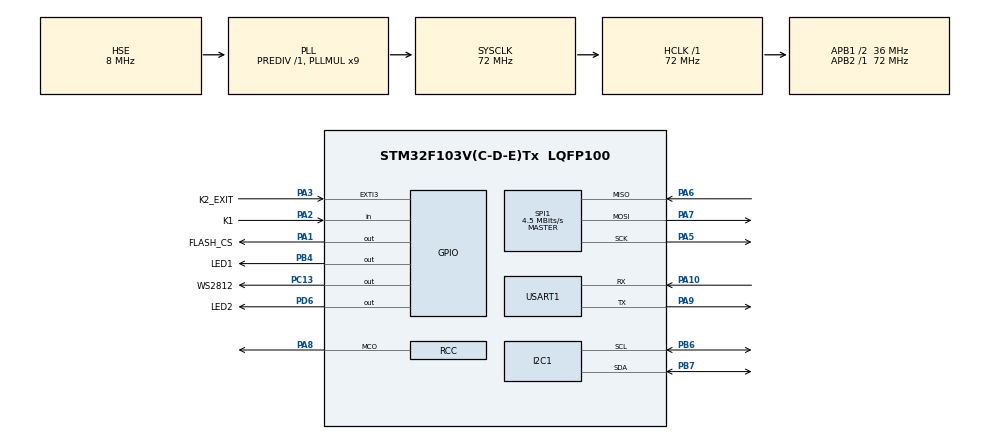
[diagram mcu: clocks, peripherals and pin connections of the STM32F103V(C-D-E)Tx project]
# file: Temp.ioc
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Mcu.Family=STM32F1
Mcu.Name=STM32F103V(C-D-E)Tx
Mcu.Package=LQFP100
NVIC.EXTI3_IRQn=true\:0\:0\:false\:false\:true\:true\:true\:true
NVIC.PriorityGroup=NVIC_PRIORITYGROUP_4
NVIC.USART1_IRQn=true\:0\:0\:false\:false\:true\:true\:true\:true
OSC_IN.Mode=HSE-External-Oscillator
OSC_IN.Signal=RCC_OSC_IN
OSC_OUT.Mode=HSE-External-Oscillator
OSC_OUT.Signal=RCC_OSC_OUT
PA1.GPIO_Label=FLASH_CS
PA1.GPIO_PuPd=GPIO_PULLUP
PA1.GPIO_Speed=GPIO_SPEED_FREQ_HIGH
PA1.PinState=GPIO_PIN_SET
PA1.Signal=GPIO_Output
PA10.Mode=Asynchronous
PA10.Signal=USART1_RX
PA13.Mode=Serial_Wire
PA13.Signal=SYS_JTMS-SWDIO
PA14.Mode=Serial_Wire
PA14.Signal=SYS_JTCK-SWCLK
PA2.GPIO_Label=K1
PA2.Signal=GPIO_Input
PA3.GPIO_Label=K2_EXIT
PA3.GPIO_ModeDefaultEXTI=GPIO_MODE_IT_FALLING
PA3.Signal=GPXTI3
PA5.Mode=Full_Duplex_Master
PA5.Signal=SPI1_SCK
PA6.Mode=Full_Duplex_Master
PA6.Signal=SPI1_MISO
PA7.Mode=Full_Duplex_Master
PA7.Signal=SPI1_MOSI
PA8.Mode=Clock-out
PA8.Signal=RCC_MCO
PA9.Mode=Asynchronous
PA9.Signal=USART1_TX
PB4.GPIO_Label=LED1
PB4.GPIO_ModeDefaultOutputPP=GPIO_MODE_OUTPUT_PP
PB4.GPIO_PuPd=GPIO_PULLUP
PB4.GPIO_Speed=GPIO_SPEED_FREQ_HIGH
PB4.PinState=GPIO_PIN_SET
PB4.Signal=GPIO_Output
PB6.Mode=I2C
PB6.Signal=I2C1_SCL
PB7.Mode=I2C
PB7.Signal=I2C1_SDA
PC13-TAMPER-RTC.GPIO_Label=WS2812
PC13-TAMPER-RTC.GPIO_PuPd=GPIO_PULLUP
PC13-TAMPER-RTC.GPIO_Speed=GPIO_SPEED_FREQ_HIGH
PC13-TAMPER-RTC.PinState=GPIO_PIN_SET
PC13-TAMPER-RTC.Signal=GPIO_Output
PC14-OSC32_IN.Mode=LSE-External-Oscillator
PC14-OSC32_IN.Signal=RCC_OSC32_IN
PC15-OSC32_OUT.Mode=LSE-External-Oscillator
PC15-OSC32_OUT.Signal=RCC_OSC32_OUT
PD6.GPIO_Label=LED2
PD6.GPIO_ModeDefaultOutputPP=GPIO_MODE_OUTPUT_PP
PD6.GPIO_PuPd=GPIO_PULLUP
PD6.GPIO_Speed=GPIO_SPEED_FREQ_HIGH
PD6.PinState=GPIO_PIN_SET
PD6.Signal=GPIO_Output
ProjectManager.HeapSize=0x200
ProjectManager.StackSize=0x400
ProjectManager.TargetToolchain=Makefile
RCC.AHBFreq_Value=72000000
RCC.APB1CLKDivider=RCC_HCLK_DIV2
RCC.APB1Freq_Value=36000000
RCC.APB1TimFreq_Value=72000000
RCC.APB2Freq_Value=72000000
RCC.APB2TimFreq_Value=72000000
RCC.HCLKFreq_Value=72000000
RCC.PLLMUL=RCC_PLL_MUL9
RCC.PLLSourceVirtual=RCC_PLLSOURCE_HSE
RCC.RCC_MCOSource=RCC_MCO1SOURCE_PLLCLK
RCC.SYSCLKFreq_VALUE=72000000
RCC.SYSCLKSource=RCC_SYSCLKSOURCE_PLLCLK
RCC.USBFreq_Value=72000000
SPI1.BaudRatePrescaler=SPI_BAUDRATEPRESCALER_16
SPI1.CalculateBaudRate=4.5 MBits/s
SPI1.Direction=SPI_DIRECTION_2LINES
SPI1.Mode=SPI_MODE_MASTER
SPI1.VirtualType=VM_MASTER
USART1.VirtualMode=VM_ASYNC
board=custom

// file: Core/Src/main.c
/* USER CODE BEGIN Header */
/**
  ******************************************************************************
  * @file           : main.c
  * @brief          : Main program body
  ******************************************************************************
  * @attention
  *
  * Copyright (c) 2025 STMicroelectronics.
  * All rights reserved.
  *
  * This software is licensed under terms that can be found in the LICENSE file
  * in the root directory of this software component.
  * If no LICENSE file comes with this software, it is provided AS-IS.
  *
  ******************************************************************************
  */
/* USER CODE END Header */
#include "main.h"

/* USER CODE BEGIN Includes */
#include "stdio.h"//printf函数
#include "string.h"
#include "bsp_spi_flash.h"//SPI flash驱动
/* USER CODE END Includes */

/* USER CODE BEGIN PTD */
uint8_t rx_buff[100];  //接收缓存
uint8_t rx_done = 0; //接收完成标志
uint8_t rx_cnt = 0;//接收数据长度
/* USER CODE END PTD */

I2C_HandleTypeDef hi2c1;

SPI_HandleTypeDef hspi1;

UART_HandleTypeDef huart1;

/* USER CODE BEGIN PV */
SPI_HandleTypeDef *hspi_flash = &hspi1; // 必须定义
/* USER CODE END PV */

void SystemClock_Config(void);
static void MX_GPIO_Init(void);
static void MX_USART1_UART_Init(void);
static void MX_I2C1_Init(void);
static void MX_SPI1_Init(void);
/* USER CODE BEGIN PFP */
void spi_flash_test(void);//SPI flash测试函数
/* USER CODE END PFP */

int main(void)
{

  /* MCU Configuration--------------------------------------------------------*/

  /* Reset of all peripherals, Initializes the Flash interface and the Systick. */
  HAL_Init();

  /* Configure the system clock */
  SystemClock_Config();

  /* Initialize all configured peripherals */
  MX_GPIO_Init();
  MX_USART1_UART_Init();
  MX_I2C1_Init();
  MX_SPI1_Init();
  /* USER CODE BEGIN 2 */
  HAL_Delay(1000);
  spi_flash_test();//SPI flash测试函数
  /* USER CODE END 2 */

  /* Infinite loop */
  while (1)
  {

  }
}

void SystemClock_Config(void)
{
  RCC_OscInitTypeDef RCC_OscInitStruct = {0};
  RCC_ClkInitTypeDef RCC_ClkInitStruct = {0};

  /** Initializes the RCC Oscillators according to the specified parameters
  * in the RCC_OscInitTypeDef structure.
  */
  RCC_OscInitStruct.OscillatorType = RCC_OSCILLATORTYPE_HSE;
  RCC_OscInitStruct.HSEState = RCC_HSE_ON;
  RCC_OscInitStruct.HSEPredivValue = RCC_HSE_PREDIV_DIV1;
  RCC_OscInitStruct.HSIState = RCC_HSI_ON;
  RCC_OscInitStruct.PLL.PLLState = RCC_PLL_ON;
  RCC_OscInitStruct.PLL.PLLSource = RCC_PLLSOURCE_HSE;
  RCC_OscInitStruct.PLL.PLLMUL = RCC_PLL_MUL9;
  if (HAL_RCC_OscConfig(&RCC_OscInitStruct) != HAL_OK)
  {
    Error_Handler();
  }

  /** Initializes the CPU, AHB and APB buses clocks
  */
  RCC_ClkInitStruct.ClockType = RCC_CLOCKTYPE_HCLK|RCC_CLOCKTYPE_SYSCLK
                              |RCC_CLOCKTYPE_PCLK1|RCC_CLOCKTYPE_PCLK2;
  RCC_ClkInitStruct.SYSCLKSource = RCC_SYSCLKSOURCE_PLLCLK;
  RCC_ClkInitStruct.AHBCLKDivider = RCC_SYSCLK_DIV1;
  RCC_ClkInitStruct.APB1CLKDivider = RCC_HCLK_DIV2;
  RCC_ClkInitStruct.APB2CLKDivider = RCC_HCLK_DIV1;

  if (HAL_RCC_ClockConfig(&RCC_ClkInitStruct, FLASH_LATENCY_2) != HAL_OK)
  {
    Error_Handler();
  }
  HAL_RCC_MCOConfig(RCC_MCO, RCC_MCO1SOURCE_PLLCLK, RCC_MCODIV_1);
}

static void MX_I2C1_Init(void)
{

  hi2c1.Instance = I2C1;
  hi2c1.Init.ClockSpeed = 100000;
  hi2c1.Init.DutyCycle = I2C_DUTYCYCLE_2;
  hi2c1.Init.OwnAddress1 = 0;
  hi2c1.Init.AddressingMode = I2C_ADDRESSINGMODE_7BIT;
  hi2c1.Init.DualAddressMode = I2C_DUALADDRESS_DISABLE;
  hi2c1.Init.OwnAddress2 = 0;
  hi2c1.Init.GeneralCallMode = I2C_GENERALCALL_DISABLE;
  hi2c1.Init.NoStretchMode = I2C_NOSTRETCH_DISABLE;
  if (HAL_I2C_Init(&hi2c1) != HAL_OK)
  {
    Error_Handler();
  }

}

static void MX_SPI1_Init(void)
{

  /* SPI1 parameter configuration*/
  hspi1.Instance = SPI1;
  hspi1.Init.Mode = SPI_MODE_MASTER;
  hspi1.Init.Direction = SPI_DIRECTION_2LINES;
  hspi1.Init.DataSize = SPI_DATASIZE_8BIT;
  hspi1.Init.CLKPolarity = SPI_POLARITY_LOW;
  hspi1.Init.CLKPhase = SPI_PHASE_1EDGE;
  hspi1.Init.NSS = SPI_NSS_SOFT;
  hspi1.Init.BaudRatePrescaler = SPI_BAUDRATEPRESCALER_16;
  hspi1.Init.FirstBit = SPI_FIRSTBIT_MSB;
  hspi1.Init.TIMode = SPI_TIMODE_DISABLE;
  hspi1.Init.CRCCalculation = SPI_CRCCALCULATION_DISABLE;
  hspi1.Init.CRCPolynomial = 10;
  if (HAL_SPI_Init(&hspi1) != HAL_OK)
  {
    Error_Handler();
  }

}

static void MX_USART1_UART_Init(void)
{

  huart1.Instance = USART1;
  huart1.Init.BaudRate = 115200;
  huart1.Init.WordLength = UART_WORDLENGTH_8B;
  huart1.Init.StopBits = UART_STOPBITS_1;
  huart1.Init.Parity = UART_PARITY_NONE;
  huart1.Init.Mode = UART_MODE_TX_RX;
  huart1.Init.HwFlowCtl = UART_HWCONTROL_NONE;
  huart1.Init.OverSampling = UART_OVERSAMPLING_16;
  if (HAL_UART_Init(&huart1) != HAL_OK)
  {
    Error_Handler();
  }
  /* USER CODE BEGIN USART1_Init 2 */
  //开启接收中断，空闲中断
  __HAL_UART_ENABLE_IT(&huart1,UART_IT_IDLE|UART_IT_RXNE);
  /* USER CODE END USART1_Init 2 */

}

static void MX_GPIO_Init(void)
{
  GPIO_InitTypeDef GPIO_InitStruct = {0};

  /* GPIO Ports Clock Enable */
  __HAL_RCC_GPIOC_CLK_ENABLE();
  __HAL_RCC_GPIOA_CLK_ENABLE();
  __HAL_RCC_GPIOD_CLK_ENABLE();
  __HAL_RCC_GPIOB_CLK_ENABLE();

  /*Configure GPIO pin Output Level */
  HAL_GPIO_WritePin(WS2812_GPIO_Port, WS2812_Pin, GPIO_PIN_SET);

  /*Configure GPIO pin Output Level */
  HAL_GPIO_WritePin(FLASH_CS_GPIO_Port, FLASH_CS_Pin, GPIO_PIN_SET);

  /*Configure GPIO pin Output Level */
  HAL_GPIO_WritePin(LED2_GPIO_Port, LED2_Pin, GPIO_PIN_SET);

  /*Configure GPIO pin Output Level */
  HAL_GPIO_WritePin(LED1_GPIO_Port, LED1_Pin, GPIO_PIN_SET);

  /*Configure GPIO pin : WS2812_Pin */
  GPIO_InitStruct.Pin = WS2812_Pin;
  GPIO_InitStruct.Mode = GPIO_MODE_OUTPUT_PP;
  GPIO_InitStruct.Pull = GPIO_PULLUP;
  GPIO_InitStruct.Speed = GPIO_SPEED_FREQ_HIGH;
  HAL_GPIO_Init(WS2812_GPIO_Port, &GPIO_InitStruct);

  /*Configure GPIO pin : FLASH_CS_Pin */
  GPIO_InitStruct.Pin = FLASH_CS_Pin;
  GPIO_InitStruct.Mode = GPIO_MODE_OUTPUT_PP;
  GPIO_InitStruct.Pull = GPIO_PULLUP;
  GPIO_InitStruct.Speed = GPIO_SPEED_FREQ_HIGH;
  HAL_GPIO_Init(FLASH_CS_GPIO_Port, &GPIO_InitStruct);

  /*Configure GPIO pin : K1_Pin */
  GPIO_InitStruct.Pin = K1_Pin;
  GPIO_InitStruct.Mode = GPIO_MODE_INPUT;
  GPIO_InitStruct.Pull = GPIO_NOPULL;
  HAL_GPIO_Init(K1_GPIO_Port, &GPIO_InitStruct);

  /*Configure GPIO pin : K2_EXIT_Pin */
  GPIO_InitStruct.Pin = K2_EXIT_Pin;
  GPIO_InitStruct.Mode = GPIO_MODE_IT_FALLING;
  GPIO_InitStruct.Pull = GPIO_NOPULL;
  HAL_GPIO_Init(K2_EXIT_GPIO_Port, &GPIO_InitStruct);

  /*Configure GPIO pin : PA8 */
  GPIO_InitStruct.Pin = GPIO_PIN_8;
  GPIO_InitStruct.Mode = GPIO_MODE_AF_PP;
  GPIO_InitStruct.Speed = GPIO_SPEED_FREQ_LOW;
  HAL_GPIO_Init(GPIOA, &GPIO_InitStruct);

  /*Configure GPIO pin : LED2_Pin */
  GPIO_InitStruct.Pin = LED2_Pin;
  GPIO_InitStruct.Mode = GPIO_MODE_OUTPUT_PP;
  GPIO_InitStruct.Pull = GPIO_PULLUP;
  GPIO_InitStruct.Speed = GPIO_SPEED_FREQ_HIGH;
  HAL_GPIO_Init(LED2_GPIO_Port, &GPIO_InitStruct);

  /*Configure GPIO pin : LED1_Pin */
  GPIO_InitStruct.Pin = LED1_Pin;
  GPIO_InitStruct.Mode = GPIO_MODE_OUTPUT_PP;
  GPIO_InitStruct.Pull = GPIO_PULLUP;
  GPIO_InitStruct.Speed = GPIO_SPEED_FREQ_HIGH;
  HAL_GPIO_Init(LED1_GPIO_Port, &GPIO_InitStruct);

  /* EXTI interrupt init*/
  HAL_NVIC_SetPriority(EXTI3_IRQn, 0, 0);
  HAL_NVIC_EnableIRQ(EXTI3_IRQn);

}

/* USER CODE BEGIN 4 */
#ifdef __GNUC__
#define PUTCHAR_PROTOTYPE int __io_putchar(int ch)
#else
#define PUTCHAR_PROTOTYPE int fputc(int ch,FILE *f)
#endif /* __GNUC__ */
//重定向printf函数
PUTCHAR_PROTOTYPE
{
    HAL_UART_Transmit(&huart1,(uint8_t *)&ch,1,HAL_MAX_DELAY);//输出指向串口USART1
    return ch;
}
//重写GPIO中断处理函数
void HAL_GPIO_EXTI_Callback(uint16_t GPIO_Pin)
{
    //翻转LED1
    HAL_GPIO_TogglePin(LED1_GPIO_Port,LED1_Pin);
    //打印中断处理信息
    printf("K2 ExTi interrput!\r\n");
}
void spi_flash_test(void)
{
  /* 测试Flash驱动 */
  uint16_t manu_id, dev_id;
  uint8_t jedec_id[3];
  uint8_t write_buf[256] = {0xAA, 0xBB, 0xCC, 0xDD};
  uint8_t read_buf[256];

  Flash_ReadID(&manu_id, &dev_id);
  printf("Flash Manufacturer ID: 0x%04X\r\n", manu_id);
  printf("Flash Device ID: 0x%04X\r\n", dev_id);
  Flash_ReadJedecID(jedec_id);
  printf("Flash JEDEC ID: 0x%02X, 0x%02X, 0x%02X\r\n", jedec_id[0], jedec_id[1], jedec_id[2]);

  if (Flash_SectorErase(0x0000) == HAL_OK) {
    Flash_PageProgram(0x0000, write_buf, 4);
    Flash_ReadData(0x0000, read_buf, 4);
  }
  printf("Flash Write Data: 0x%02X, 0x%02X, 0x%02X, 0x%02X\r\n", write_buf[0], write_buf[1], write_buf[2], write_buf[3]);
  printf("Flash Read  Data: 0x%02X, 0x%02X, 0x%02X, 0x%02X\r\n", read_buf[0], read_buf[1], read_buf[2], read_buf[3]);
  // 验证数据
  if (memcmp(write_buf, read_buf, 4) == 0) {
    printf("\r\nSPI Flash Test Passed!\r\n");
  }
}
/* USER CODE END 4 */

void Error_Handler(void)
{
  __disable_irq();
  while (1)
  {
  }
}
